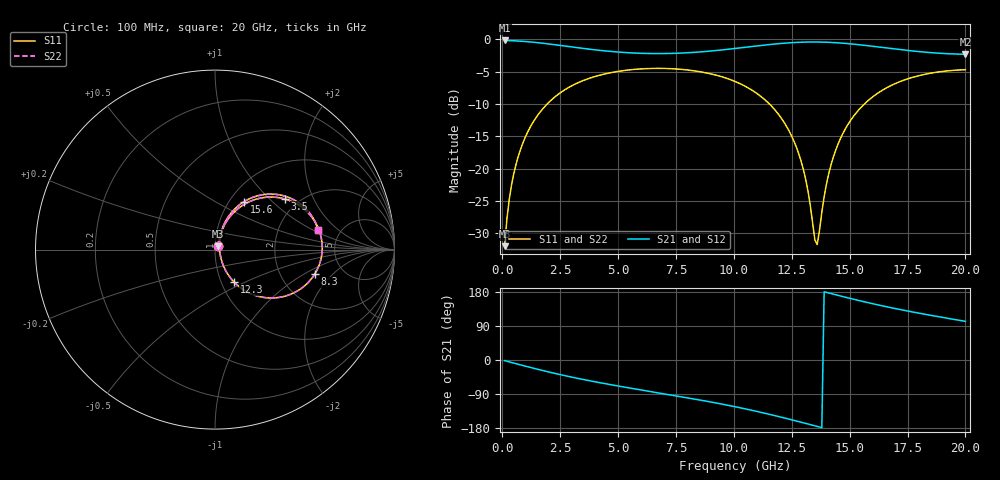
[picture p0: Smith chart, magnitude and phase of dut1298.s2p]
! Touchstone file exported from HFSS 2026.1.0
!  File:  C:/ffzhzh/LocalFiles/Ansys_Project_Files/temp_train_TSV_RDL_1298_1783333075_39728.aedt
!  Generated:  06:30:01 PM Jul  6, 2026
!  Design:  TSV_RDL
!  Project:  temp_train_TSV_RDL_1298_1783333075_39728
! Variables:
!  h_bsmrdl = 5.25um
!  h_ox = 20um
!  h_rdl = 5um
!  h_sub = 82.73um
!  h_tmrdl = 5.12um
!  h_tsv = 82.73um
!  h_via = 3um
!  l_bsmrdl = 695.66um
!  l_sub = 4334.05um
!  l_tmrdl = 432.81um
!  m_sub = 200um
!  pitch = 56.94um
!  r_tsv = 5.95um
!  s_tmrdl = 10um
!  w_bsmrdl = 24.79um
!  w_sub = 500um
!  w_tmrdl = 13.82um
!  x_tsv_center1 = 439.72um
!  x_tsv_center2 = 1160.17um
!  x_tsv_center3 = 1606.8um
!  x_tsv_center4 = 2327.25um
!  x_tsv_center5 = 2773.88um
!  x_tsv_center6 = 3494.33um
# GHz S MA R 50.000000
! Terminal data exported
! Port[1] = TM_RDL1_1_T1
! Port[2] = TM_RDL5_1_T1
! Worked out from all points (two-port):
!   200 points, 100 MHz to 20 GHz, reference 50 ohm
!   highest |S21| = -0.15 dB at 100 MHz (marker M1); lowest = -2.3 dB at 20 GHz (marker M2)
!   |S21| within 3 dB of the highest: start of sweep to end of sweep
!   lowest |S11| = -32.0 dB at 100 MHz (marker M3), VSWR 1.05, Z = 51.7 + j1.9 ohm
!   |S11| at or under -10 dB: start of sweep to 1.932 GHz; 11.54 GHz to 15.63 GHz (4.089 GHz wide, 30.1 % of centre)
!   |S22| runs from -32.0 to -4.5 dB; largest |S21 - S12| = 1.6e-14
!   S11 on the Smith chart (normalised r, x): 100 MHz: 1.03, +0.04; 3.5 GHz: 1.71, +1.25; 8.3 GHz: 3.11, -1.26; 12.3 GHz: 1.15, -0.43; 15.6 GHz: 1.17, +0.69; 20 GHz: 3.39, +1.14
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0.1  0.0252 46.6  0.9831 -1.7  0.9831 -1.7  0.0252 46.6
! Gamma 0 0 0 0
! Port Impedance 50 0 50 0
0.3  0.05796 67.0  0.9806 -5.0  0.9806 -5.0  0.05796 67.0
0.5  0.09225 70.1  0.9773 -8.3  0.9773 -8.3  0.09225 70.1
1.1  0.1928 66.2  0.9615 -17.9  0.9615 -17.9  0.1928 66.2
2.1  0.3383 53.3  0.9192 -33.0  0.9192 -33.0  0.3383 53.3
3.5  0.4818 35.8  0.8525 -51.5  0.8525 -51.5  0.4818 35.8
5.2  0.5736 17.2  0.795 -70.8  0.795 -70.8  0.5736 17.2
6.8  0.5977 1.2  0.7779 -87.3  0.7779 -87.3  0.5977 1.2
8.3  0.572 -13.8  0.7956 -103.0  0.7956 -103.0  0.572 -13.8
10.1  0.4697 -33.5  0.8542 -123.9  0.8542 -123.9  0.4697 -33.5
11.4  0.3345 -49.2  0.9087 -141.3  0.9087 -141.3  0.3345 -49.2
12.3  0.2092 -59.6  0.94 -154.7  0.94 -154.7  0.2092 -59.6
13  0.09915 -62.4  0.9542 -165.7  0.9542 -165.7  0.09918 -62.4
13.4  0.03853 -42.1  0.9568 -172.1  0.9568 -172.1  0.03857 -42.1
13.5  0.02819 -20.3  0.9568 -173.7  0.9568 -173.7  0.02824 -20.3
13.6  0.02595 14.1  0.9565 -175.3  0.9565 -175.3  0.02599 14.0
14  0.07626 67.6  0.9527 178.4  0.9527 178.4  0.07625 67.6
14.3  0.1237 70.6  0.9472 173.6  0.9472 173.6  0.1237 70.6
14.9  0.216 66.7  0.9302 164.4  0.9302 164.4  0.216 66.7
15.6  0.3124 58.8  0.9032 154.1  0.9032 154.1  0.3123 58.8
16.7  0.4325 45.7  0.8553 139.2  0.8553 139.2  0.4325 45.6
20  0.5838 11.0  0.7685 102.0  0.7685 102.0  0.5838 10.9
